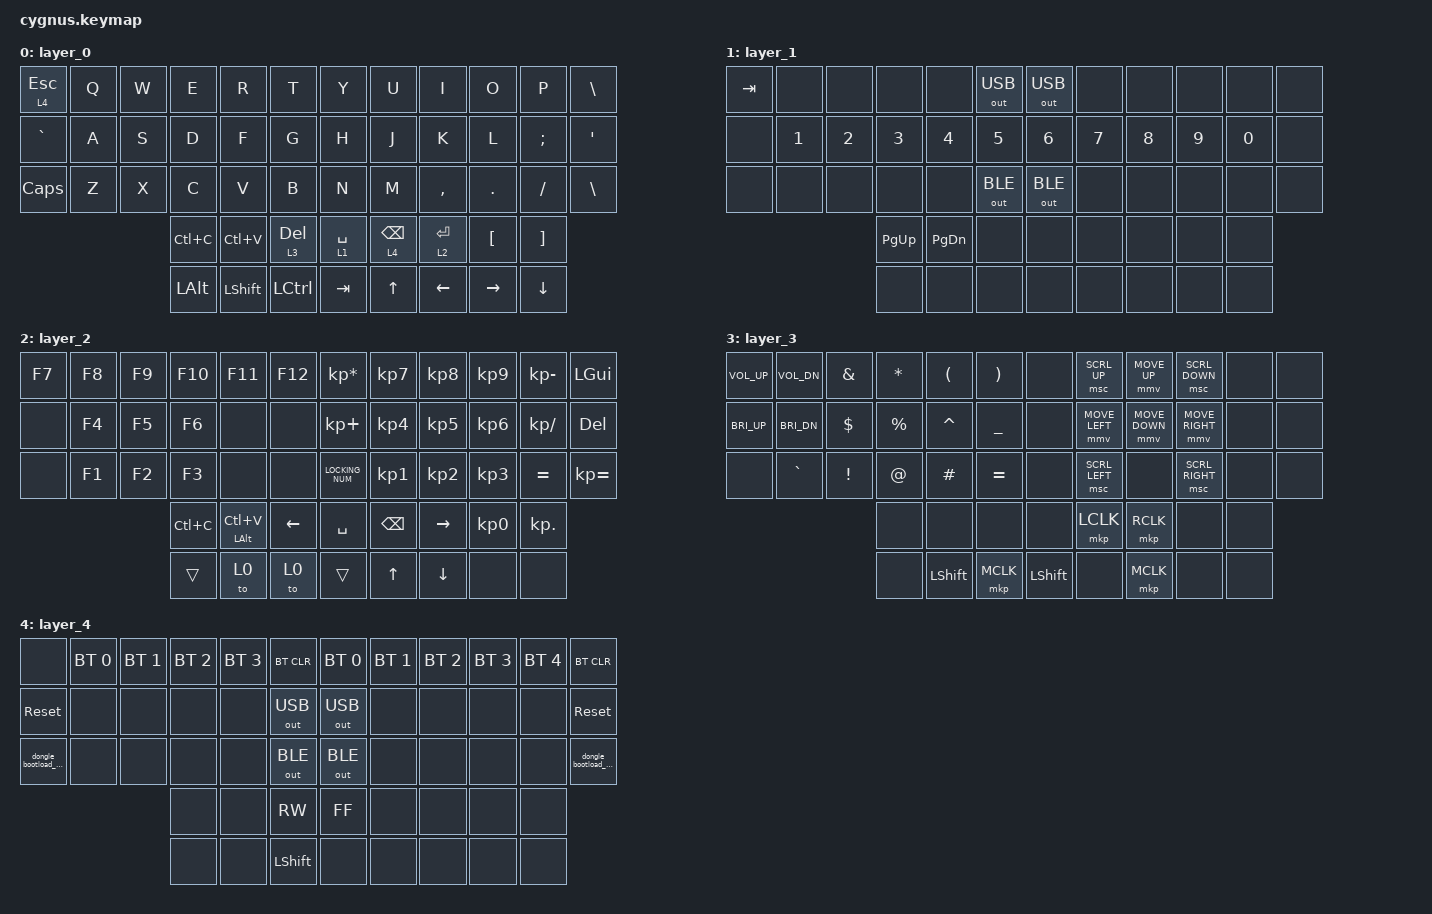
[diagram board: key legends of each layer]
/*
 * Copyright (c) 2020 The ZMK Contributors
 *
 * SPDX-License-Identifier: MIT
 */

#include <behaviors/mouse_keys.dtsi>
#include <behaviors.dtsi>
#include <dt-bindings/zmk/bt.h>
#include <dt-bindings/zmk/keys.h>
#include <dt-bindings/zmk/mouse.h>
#include <dt-bindings/zmk/outputs.h>

&mt {
    flavor = "hold-preferred";
    tapping-term-ms = <175>;
    quick-tap-ms = <175>;

    // retro-tap;
};

&lt {
    flavor = "hold-preferred";
    tapping-term-ms = <175>;
    quick-tap-ms = <175>;

    // retro-tap;
};

/ {
    macros {
        dongle_bootload_macro: bootload_macro {
            compatible = "zmk,behavior-macro";
            #binding-cells = <0>;
            bindings = <&bootloader>;
            label = "BOOTLOAD_MACRO";
        };
    };

    behaviors {
        hm: homerow_mods {
            compatible = "zmk,behavior-hold-tap";
            label = "HOMEROW_MODS";
            #binding-cells = <2>;
            tapping-term-ms = <200>;
            quick_tap_ms = <0>;
            flavor = "tap-preferred";
            bindings = <&kp>, <&kp>;

            quick-tap-ms = <180>;
            global-quick-tap;
        };

        as: as {
            compatible = "zmk,behavior-hold-tap";
            label = "AUTO_SHIFT";
            bindings = <&kp>, <&kp>;

            #binding-cells = <2>;
            tapping-term-ms = <300>;
            quick-tap-ms = <0>;
            flavor = "tap-preferred";
        };

        bmt: balanced_mod_tap {
            compatible = "zmk,behavior-hold-tap";
            #binding-cells = <2>;
            flavor = "balanced";
            tapping-term-ms = <200>;    // <---[[moderate duration]]
            quick-tap-ms = <200>;
            bindings = <&kp>, <&kp>;
        };

        modcp: mod_copy {
            compatible = "zmk,behavior-mod-morph";
            label = "MOD_COPY";
            #binding-cells = <0>;
            bindings = <&as LS(C) C>, <&kp C>;

            mods = <(LGUI | RGUI)>;
        };

        blt: balanced_layer_tap {
            compatible = "zmk,behavior-hold-tap";
            #binding-cells = <2>;
            flavor = "balanced";
            tapping-term-ms = <200>;    // <---[[moderate duration]]
            quick-tap-ms = <200>;
            bindings = <&mo>, <&kp>;
        };

        tmt: tap_preferred_mod_tap {
            compatible = "zmk,behavior-hold-tap";
            #binding-cells = <2>;
            flavor = "tap-preferred";

            //retro-tap;

            tapping-term-ms = <175>;    // <---[[moderate duration]]
            quick-tap-ms = <175>;
            require-prior-idle-ms = <125>;
            bindings = <&kp>, <&kp>;
        };

        tlt: tap_preferred_layer_tap {
            compatible = "zmk,behavior-hold-tap";
            #binding-cells = <2>;
            flavor = "tap-preferred";

            //retro-tap;

            tapping-term-ms = <175>;    // <---[[moderate duration]]
            quick-tap-ms = <175>;
            require-prior-idle-ms = <125>;
            bindings = <&mo>, <&kp>;
        };
    };

    keymap {
        compatible = "zmk,keymap";

        layer_0 {
            bindings = <
&lt 4 ESC     &kp Q  &kp W      &kp E      &kp R            &kp T             &kp Y           &kp U         &kp I         &kp O        &kp P     &kp BACKSLASH
&kp GRAVE     &kp A  &kp S      &kp D      &kp F            &kp G             &kp H           &kp J         &kp K         &kp L        &kp SEMI  &kp SQT
&kp CAPS      &kp Z  &kp X      &kp C      &kp V            &kp B             &kp N           &kp M         &kp COMMA     &kp DOT      &kp FSLH  &kp BSLH
                                &kp LC(C)  &kp LC(V)        &lt 3 DEL         &lt 1 SPACE     &lt 4 BSPC    &lt 2 ENTER   &kp LBKT     &kp RBKT
                                &kp LALT   &kp LSHFT        &kp LCTRL     &kp TAB          &kp UP        &kp LEFT      &kp RIGHT    &kp DOWN  
            >;
        };

        layer_1 {
            bindings = <
&kp TAB        &none           &none              &none             &none          &out OUT_USB        &out OUT_USB    &none           &none         &none          &none         &none
&none          &kp NUMBER_1    &kp NUMBER_2       &kp NUMBER_3      &kp NUMBER_4   &kp NUMBER_5        &kp NUMBER_6    &kp NUMBER_7   &kp NUMBER_8   &kp NUMBER_9   &kp NUMBER_0  &none
&none          &none           &none              &none             &none          &out OUT_BLE        &out OUT_BLE    &none          &none          &none          &none         &none
                               &kp PG_UP          &kp PG_DN         &none          &none               &none           &none          &none          &none
                               &none              &none             &none          &none               &none           &none          &none          &none
            >;
        };

        layer_2 {
            bindings = <
&kp F7     &kp F8    &kp F9      &kp F10          &kp F11   &kp F12                   &kp KP_MULTIPLY       &kp KP_N7       &kp KP_N8     &kp KP_N9        &kp KP_MINUS    &kp LEFT_GUI
&none      &kp F4    &kp F5      &kp F6           &none     &none                     &kp KP_PLUS           &kp KP_N4       &kp KP_N5     &kp KP_N6        &kp KP_SLASH    &kp DEL
&none      &kp F1    &kp F2      &kp F3           &none     &none                     &kp LOCKING_NUM       &kp KP_N1       &kp KP_N2     &kp KP_N3        &kp EQUAL       &kp KP_EQUAL
                     &kp LC(C)   &mt LALT LC(V)   &kp LEFT  &kp SPACE                 &kp BSPC              &kp RIGHT       &kp KP_N0     &kp KP_DOT
                     &trans      &to 0            &to 0     &trans                    &kp UP                &kp DOWN        &none         &none
            >;
        };

        layer_3 {
            bindings = <
&kp C_VOL_UP  &kp C_VOL_DN  &kp AMPS  &kp STAR    &kp LPAR   &kp RPAR     &none       &msc SCRL_UP    &mmv MOVE_UP    &msc SCRL_DOWN     &none  &none
&kp C_BRI_UP  &kp C_BRI_DN  &kp DLLR  &kp PRCNT   &kp CARET  &kp UNDER    &none       &mmv MOVE_LEFT  &mmv MOVE_DOWN  &mmv MOVE_RIGHT    &none  &none
&none         &kp GRAVE     &kp EXCL  &kp AT      &kp HASH   &kp EQUAL    &none       &msc SCRL_LEFT  &none           &msc SCRL_RIGHT    &none  &none
                            &none     &none       &none      &none        &mkp LCLK   &mkp RCLK       &none           &none
                            &none     &kp LSHFT   &mkp MCLK  &kp LSHFT    &none       &mkp MCLK       &none           &none
            >;
        };

        layer_4 {
            bindings = <
&none                     &bt BT_SEL 0  &bt BT_SEL 1       &bt BT_SEL 2      &bt BT_SEL 3       &bt BT_CLR    &bt BT_SEL 0  &bt BT_SEL 1  &bt BT_SEL 2  &bt BT_SEL 3  &bt BT_SEL 4  &bt BT_CLR
&sys_reset                &none         &none              &none             &none              &out OUT_USB  &out OUT_USB  &none         &none         &none         &none         &sys_reset
&dongle_bootload_macro    &none         &none              &none             &none              &out OUT_BLE  &out OUT_BLE  &none         &none         &none         &none         &dongle_bootload_macro
                          &none         &none              &kp C_RW          &kp C_FF           &none         &none         &none         &none
                          &none              &none         &kp LSHFT         &none              &none         &none         &none         &none
            >;
        };
    };
};
